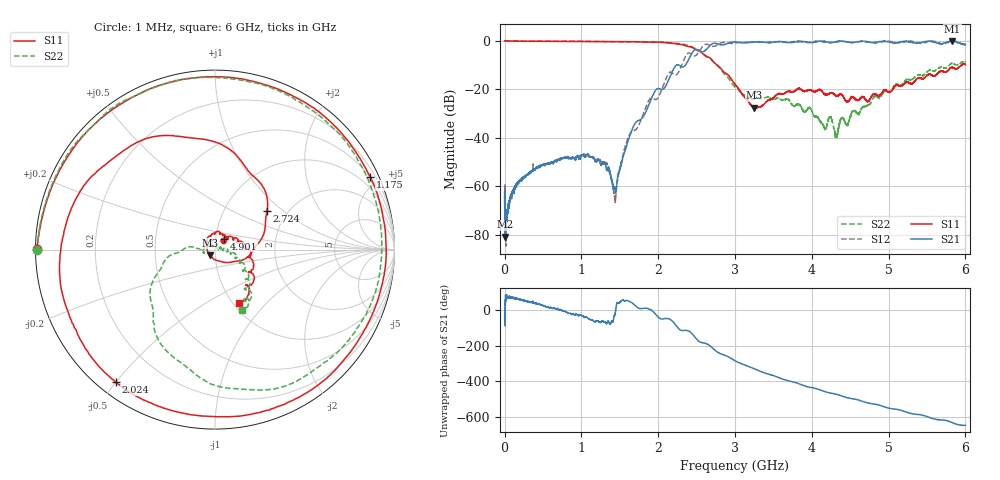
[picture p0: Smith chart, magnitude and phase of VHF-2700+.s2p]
# GHZ S RI R 50.000000000000
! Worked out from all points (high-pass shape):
!   10000 points, 1 MHz to 6 GHz, reference 50 ohm
!   highest |S21| = -0.10 dB at 5.828 GHz (marker M1); lowest = -80.7 dB at 12.4 MHz (marker M2)
!   |S21| within 3 dB of the highest: 2.644 GHz to end of sweep
!   lowest |S11| = -27.7 dB at 3.253 GHz (marker M3), VSWR 1.09, Z = 47.1 - j2.77 ohm
!   |S11| at or under -10 dB: 2.766 GHz to 5.952 GHz (3.185 GHz wide, 73.1 % of centre); 5.952296 GHz to 5.953835 GHz (1.539 MHz wide, 0.0258 % of centre); 5.954782 GHz to 5.955299 GHz (517.2 kHz wide, 0.00868 % of centre)
!   |S22| runs from -40.1 to -0.1 dB; largest |S21 - S12| = 0.21
!   S11 on the Smith chart (normalised r, x): 1 MHz: 0.00, +0.00; 1.175 GHz: 0.49, +4.44; 2.024 GHz: 0.05, -0.50; 2.724 GHz: 1.58, +0.79; 4.901 GHz: 1.09, +0.13; 6 GHz: 1.07, -0.70
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0.001  -0.9918 0.00413  0.000416 -0.000412  -6.72e-06 -0.000764  -0.99 0.000428
0.01239924  -0.9891 0.0299  5.45e-05 7.41e-05  8.63e-05 0.000146  -0.9922 0.0158
0.1749884  -0.9038 0.3629  0.000545 0.00104  0.000535 0.0011  -0.9622 0.1966
0.5601627  -0.3221 0.9108  0.00278 0.000878  0.00285 0.000847  -0.7786 0.5893
1.001133  0.6098 0.7417  0.00354 -0.00225  0.00347 -0.00223  -0.3209 0.9096
1.174522  0.8641 0.4048  0.00144 -0.00323  0.00179 -0.00273  -0.0808 0.959
1.439104  0.9148 -0.2558  0.000858 -0.000306  0.000443 -0.000155  0.3392 0.8914
1.619092  0.653 -0.6862  0.00633 0.00735  0.00836 0.00688  0.6177 0.715
2.001267  -0.4887 -0.7854  0.0784 -0.0676  0.0604 -0.0295  0.9277 -0.0467
2.024065  -0.5542 -0.7377  0.0674 -0.0754  0.0726 -0.0317  0.9216 -0.1066
2.229251  -0.8631 -0.0259  0.029 -0.3042  0.00925 -0.1948  0.6322 -0.612
2.432638  -0.3982 0.6132  -0.3305 -0.41  -0.4413 -0.2862  0.00603 -0.7584
2.723618  0.2903 0.2176  -0.6817 0.5564  -0.5657 0.5064  -0.3254 -0.1405
3.0008  0.1068 -0.0659  0.2272 0.9068  0.2031 0.865  -0.1116 0.00899
3.252783  -0.0291 -0.0294  0.8046 0.4771  0.7973 0.4726  -0.0597 -0.0183
3.569562  -0.0358 0.072  0.9094 -0.2958  0.8909 -0.3102  -0.0653 0.00044
4.000933  0.0465 0.0818  0.2448 -0.8765  0.2625 -0.8967  -0.0216 0.0278
4.319512  0.0535 0.0497  -0.3425 -0.8812  -0.3448 -0.8877  0.00721 0.00854
4.900873  0.049 0.0607  -0.96 -0.0769  -0.927 -0.1013  0.0703 -0.00475
5.000467  0.0647 0.0565  -0.919 0.1467  -0.964 0.1215  0.0859 -0.0224
5.828411  0.2022 -0.1948  0.00943 0.9887  -0.0487 1.001  0.1867 -0.2857
6  0.1339 -0.2936  0.2167 0.8034  0.195 0.7844  0.1508 -0.3348
